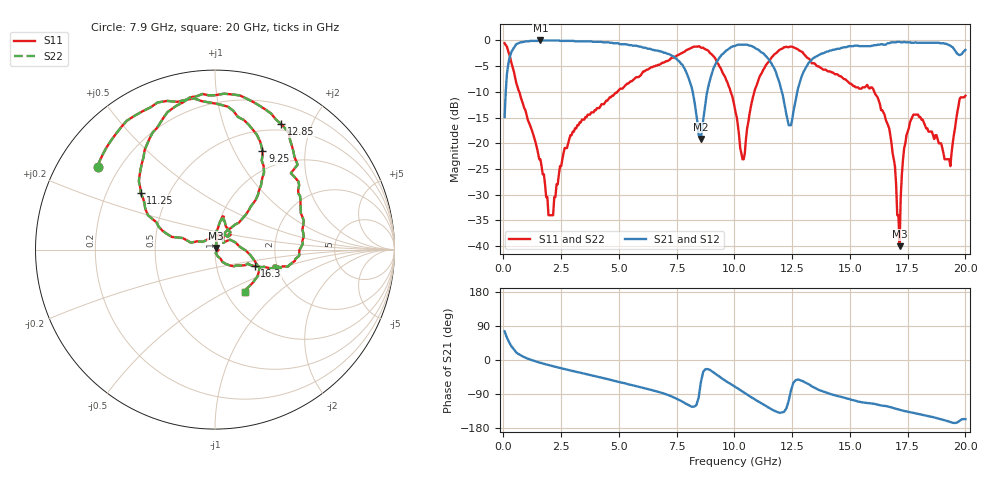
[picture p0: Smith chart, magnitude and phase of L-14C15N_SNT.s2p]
#	mhz	s	ma	r	50
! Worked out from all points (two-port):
!   400 points, 50 MHz to 20 GHz, reference 50 ohm
!   highest |S21| = 0.00 dB at 1.6 GHz (marker M1); lowest = -19.2 dB at 8.55 GHz (marker M2)
!   |S21| within 3 dB of the highest: 290.3 MHz to 7.31 GHz (7.02 GHz wide, 185 % of centre); 13.59 GHz to end of sweep (the widest 2 of 3)
!   lowest |S11| = -40.0 dB at 17.15 GHz (marker M3), VSWR 1.02, Z = 50.4 + j0.94 ohm
!   |S11| at or under -10 dB: 684.1 MHz to 4.931 GHz (4.247 GHz wide, 151 % of centre); 9.839 GHz to 10.86 GHz (1.022 GHz wide, 9.87 % of centre); 16.06 GHz to end of sweep
!   |S22| runs from -40.0 to -0.5 dB; largest |S21 - S12| = 0
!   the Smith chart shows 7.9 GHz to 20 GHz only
!   S11 on the Smith chart (normalised r, x): 7.9 GHz: 0.12, +0.31; 9.25 GHz: 0.74, +1.30; 11.25 GHz: 0.35, +0.30; 12.85 GHz: 0.42, +1.58; 16.3 GHz: 1.53, -0.30; 20 GHz: 1.22, -0.63
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50  0.94 169.4  0.18 75.5  0.18 75.5  0.94 169.4
1600  0.07 97.3  1 -7.4  1 -7.4  0.07 97.3
2150  0.02 -149.0  1 -16.4  1 -16.4  0.02 -149.0
3400  0.17 -131.9  0.98 -34.6  0.98 -34.6  0.17 -131.9
6700  0.58 -177.8  0.79 -83.8  0.79 -83.8  0.58 -177.8
6750  0.58 -178.6  0.79 -84.5  0.79 -84.5  0.58 -178.6
6800  0.59 -0.1  0.78 -85.7  0.78 -85.7  0.59 -0.1
6850  0.6 178.5  0.78 -86.8  0.78 -86.8  0.6 178.5
7900  0.8 144.8  0.5 -115.4  0.5 -115.4  0.8 144.8
8550  0.85 104.4  0.11 -57.7  0.11 -57.7  0.85 104.4
9250  0.61 64.3  0.63 -40.1  0.63 -40.1  0.61 64.3
10050  0.2 48.5  0.89 -71.4  0.89 -71.4  0.2 48.5
10400  0.07 126.0  0.91 -85.2  0.91 -85.2  0.07 126.0
11250  0.52 142.7  0.75 -117.2  0.75 -117.2  0.52 142.7
12850  0.79 62.1  0.4 -53.2  0.4 -53.2  0.79 62.1
13350  0.6 45.2  0.65 -69.4  0.65 -69.4  0.6 45.2
16300  0.24 -22.7  0.91 -119.2  0.91 -119.2  0.24 -22.7
16700  0.14 -41.6  0.94 -123.5  0.94 -123.5  0.14 -41.6
17150  0.01 69.0  0.97 -131.6  0.97 -131.6  0.01 69.0
17650  0.17 78.2  0.95 -138.6  0.95 -138.6  0.17 78.2
19350  0.06 39.3  0.89 -163.6  0.89 -163.6  0.06 39.3
20000  0.29 -55.1  0.81 -155.9  0.81 -155.9  0.29 -55.1
